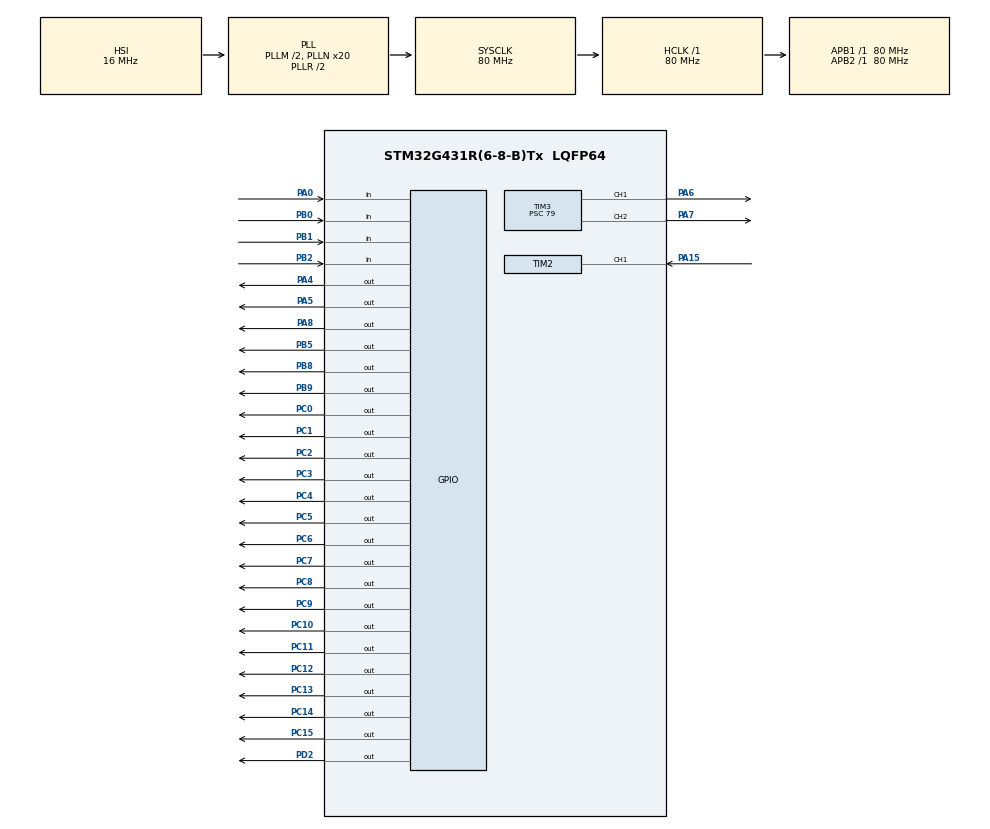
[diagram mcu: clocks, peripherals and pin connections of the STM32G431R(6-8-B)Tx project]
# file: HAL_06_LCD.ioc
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Mcu.Family=STM32G4
Mcu.Name=STM32G431R(6-8-B)Tx
Mcu.Package=LQFP64
NVIC.PriorityGroup=NVIC_PRIORITYGROUP_4
NVIC.TIM2_IRQn=true\:0\:0\:false\:false\:true\:true\:true
PA0.Signal=GPIO_Input
PA13.Mode=Serial_Wire
PA13.Signal=SYS_JTMS-SWDIO
PA14.Mode=Serial_Wire
PA14.Signal=SYS_JTCK-SWCLK
PA15.Signal=S_TIM2_CH1
PA4.Signal=GPIO_Output
PA5.Signal=GPIO_Output
PA6.Signal=S_TIM3_CH1
PA7.Signal=S_TIM3_CH2
PA8.Signal=GPIO_Output
PB0.Signal=GPIO_Input
PB1.Signal=GPIO_Input
PB2.Signal=GPIO_Input
PB5.Signal=GPIO_Output
PB8-BOOT0.Signal=GPIO_Output
PB9.Signal=GPIO_Output
PC0.Signal=GPIO_Output
PC1.Signal=GPIO_Output
PC10.Signal=GPIO_Output
PC11.Signal=GPIO_Output
PC12.Signal=GPIO_Output
PC13.Signal=GPIO_Output
PC14-OSC32_IN.Signal=GPIO_Output
PC15-OSC32_OUT.Signal=GPIO_Output
PC2.Signal=GPIO_Output
PC3.Signal=GPIO_Output
PC4.Signal=GPIO_Output
PC5.Signal=GPIO_Output
PC6.Signal=GPIO_Output
PC7.Signal=GPIO_Output
PC8.Signal=GPIO_Output
PC9.Signal=GPIO_Output
PD2.Signal=GPIO_Output
PF0-OSC_IN.Mode=HSE-External-Oscillator
PF0-OSC_IN.Signal=RCC_OSC_IN
PF1-OSC_OUT.Mode=HSE-External-Oscillator
PF1-OSC_OUT.Signal=RCC_OSC_OUT
ProjectManager.HeapSize=0x200
ProjectManager.StackSize=0x400
ProjectManager.TargetToolchain=MDK-ARM V5.27
RCC.ADC12Freq_Value=80000000
RCC.AHBFreq_Value=80000000
RCC.APB1Freq_Value=80000000
RCC.APB1TimFreq_Value=80000000
RCC.APB2Freq_Value=80000000
RCC.APB2TimFreq_Value=80000000
RCC.CortexFreq_Value=80000000
RCC.EXTERNAL_CLOCK_VALUE=12288000
RCC.HCLKFreq_Value=80000000
RCC.HSE_VALUE=24000000
RCC.HSI48_VALUE=48000000
RCC.HSI_VALUE=16000000
RCC.LSE_VALUE=32768
RCC.PLLM=RCC_PLLM_DIV2
RCC.PLLN=20
RCC.SYSCLKFreq_VALUE=80000000
RCC.SYSCLKSource=RCC_SYSCLKSOURCE_PLLCLK
RCC.USBFreq_Value=80000000
RCC.VCOOutputFreq_Value=160000000
SH.S_TIM2_CH1.0=TIM2_CH1,TriggerSource_TI1FP1
SH.S_TIM2_CH1.1=TIM2_CH1,Input_Capture1_from_TI1
SH.S_TIM2_CH1.2=TIM2_CH1,Input_Capture2_from_TI1
SH.S_TIM3_CH1.0=TIM3_CH1,PWM Generation1 CH1
SH.S_TIM3_CH2.0=TIM3_CH2,PWM Generation2 CH2
TIM2.Channel-Input_Capture1_from_TI1=TIM_CHANNEL_1
TIM2.Channel-Input_Capture2_from_TI1=TIM_CHANNEL_2
TIM2.ICPolarity_CH2=TIM_INPUTCHANNELPOLARITY_FALLING
TIM2.PeriodNoDither=0xffffffff
TIM2.Prescaler=79
TIM3.Channel-PWM\ Generation1\ CH1=TIM_CHANNEL_1
TIM3.Channel-PWM\ Generation2\ CH2=TIM_CHANNEL_2
TIM3.PeriodNoDither=999
TIM3.Prescaler=79
TIM3.PulseNoDither_1=800
TIM3.PulseNoDither_2=300
VP_SYS_VS_DBSignals.Mode=DisableDeadBatterySignals
VP_TIM2_VS_ControllerModeReset.Mode=Reset Mode
board=custom

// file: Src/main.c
/* USER CODE BEGIN Header */
/**
  ******************************************************************************
  * @file           : main.c
  * @brief          : Main program body
  ******************************************************************************
  * @attention
  *
  * <h2><center>&copy; Copyright (c) 2021 STMicroelectronics.
  * All rights reserved.</center></h2>
  *
  * This software component is licensed by ST under BSD 3-Clause license,
  * the "License"; You may not use this file except in compliance with the
  * License. You may obtain a copy of the License at:
  *                        opensource.org/licenses/BSD-3-Clause
  *
  ******************************************************************************
  */
/* USER CODE END Header */

#include "main.h"
#include "tim.h"
#include "gpio.h"

/* USER CODE BEGIN PV */
uint8_t ucLed;

u8 ucState=0;
u8 ucPlat = 1, ucSet=0;
u8 ucArrive=0;
u32 ulKey_Ms;

vu32 Capture = 0;
vu32  Duty=0;
float Freq=0;

__IO uint32_t ulTickms=0;
vu32 ulSec=0;
vu32 ul250Ms=0;
u8 ucHour=0, ucMin=0, ucSec=0;
/* USER CODE END PV */

void SystemClock_Config(void);

/* USER CODE BEGIN 0 */
void ELEV_Proc(void);
u8 Key_Proc(void);
void Lcd_Proc();
void Led_Proc(void);

/* USER CODE END 0 */

int main(void)
{

  /* MCU Configuration--------------------------------------------------------*/

  /* Reset of all peripherals, Initializes the Flash interface and the Systick. */
  HAL_Init();

  /* Configure the system clock */
  SystemClock_Config();

  /* Initialize all configured peripherals */
  MX_GPIO_Init();
  MX_TIM2_Init();
  MX_TIM3_Init();
  /* USER CODE BEGIN 2 */

	LCD_Init();
  /* USER CODE END 2 */

  /* Infinite loop */
  /* USER CODE BEGIN WHILE */

	LCD_Clear(Blue);
	LCD_SetBackColor(Blue);
	LCD_SetTextColor(White);

	HAL_TIM_IC_Start_IT(&htim2,TIM_CHANNEL_1);
	HAL_TIM_IC_Start(&htim2,TIM_CHANNEL_2);

  while (1)
  {
    /* USER CODE END WHILE */

    /* USER CODE BEGIN 3 */
		ELEV_Proc();
		Lcd_Proc();
		Led_Proc();
  }
  /* USER CODE END 3 */
}

void SystemClock_Config(void)
{
  RCC_OscInitTypeDef RCC_OscInitStruct = {0};
  RCC_ClkInitTypeDef RCC_ClkInitStruct = {0};

  /** Configure the main internal regulator output voltage
  */
  HAL_PWREx_ControlVoltageScaling(PWR_REGULATOR_VOLTAGE_SCALE1);
  /** Initializes the CPU, AHB and APB busses clocks
  */
  RCC_OscInitStruct.OscillatorType = RCC_OSCILLATORTYPE_HSI;
  RCC_OscInitStruct.HSIState = RCC_HSI_ON;
  RCC_OscInitStruct.HSICalibrationValue = RCC_HSICALIBRATION_DEFAULT;
  RCC_OscInitStruct.PLL.PLLState = RCC_PLL_ON;
  RCC_OscInitStruct.PLL.PLLSource = RCC_PLLSOURCE_HSI;
  RCC_OscInitStruct.PLL.PLLM = RCC_PLLM_DIV2;
  RCC_OscInitStruct.PLL.PLLN = 20;
  RCC_OscInitStruct.PLL.PLLP = RCC_PLLP_DIV2;
  RCC_OscInitStruct.PLL.PLLQ = RCC_PLLQ_DIV2;
  RCC_OscInitStruct.PLL.PLLR = RCC_PLLR_DIV2;
  if (HAL_RCC_OscConfig(&RCC_OscInitStruct) != HAL_OK)
  {
    Error_Handler();
  }
  /** Initializes the CPU, AHB and APB busses clocks
  */
  RCC_ClkInitStruct.ClockType = RCC_CLOCKTYPE_HCLK|RCC_CLOCKTYPE_SYSCLK
                              |RCC_CLOCKTYPE_PCLK1|RCC_CLOCKTYPE_PCLK2;
  RCC_ClkInitStruct.SYSCLKSource = RCC_SYSCLKSOURCE_PLLCLK;
  RCC_ClkInitStruct.AHBCLKDivider = RCC_SYSCLK_DIV1;
  RCC_ClkInitStruct.APB1CLKDivider = RCC_HCLK_DIV1;
  RCC_ClkInitStruct.APB2CLKDivider = RCC_HCLK_DIV1;

  if (HAL_RCC_ClockConfig(&RCC_ClkInitStruct, FLASH_LATENCY_3) != HAL_OK)
  {
    Error_Handler();
  }
}

/* USER CODE BEGIN 4 */
void ELEV_Proc(void)
{
	static u32 ulElevMs;
	u8 ucRst;
	switch(ucState)
	{
		case 0:			//set
			ucRst=Key_Proc();
			if(ucRst)
			{
				HAL_GPIO_WritePin(GPIOA,GPIO_PIN_5,GPIO_PIN_RESET);
				htim3.Instance->ARR=499;
				htim3.Instance->CCR2=250;
				HAL_TIM_PWM_Start(&htim3,TIM_CHANNEL_2);
				ucState=4;
				ulElevMs=ulTickms;
			}
			break;
		case 1:					//up			6s
			if(ulTickms-ulElevMs>=6000)
			{
				if(ucSet & 1<<(ucPlat-1))			//tartger floor
				{
					ucSet &=~(1<<(ucPlat-1));
					ucLed &=~(1<<(ucPlat-1));

					HAL_TIM_PWM_Stop(&htim3,TIM_CHANNEL_1);
					ucArrive=1;
					HAL_GPIO_WritePin(GPIOA,GPIO_PIN_5,GPIO_PIN_RESET);
					htim3.Instance->ARR=499;
					htim3.Instance->CCR2=300;
					HAL_TIM_PWM_Start(&htim3,TIM_CHANNEL_2);

					ucState=3;
					ulElevMs=ulTickms;
				}
				else
				{
					ucPlat=ucPlat+1;
					ulElevMs=ulTickms;		//continue up
				}
			}
			break;
		case 2:					//down		6s
			if(ulTickms-ulElevMs>=6000)
			{
				if(ucSet & 1<<(ucPlat-1))			//tartger floor
				{
					ucSet &=~(1<<(ucPlat-1));
					ucLed &=~(1<<(ucPlat-1));

					HAL_TIM_PWM_Stop(&htim3,TIM_CHANNEL_1);
					ucArrive=1;
					HAL_GPIO_WritePin(GPIOA,GPIO_PIN_5,GPIO_PIN_RESET);
					htim3.Instance->ARR=499;
					htim3.Instance->CCR2=300;
					HAL_TIM_PWM_Start(&htim3,TIM_CHANNEL_2);

					ucState=3;
					ulElevMs=ulTickms;
				}
				else
				{
					ucPlat=ucPlat-1;
					ulElevMs=ulTickms;		//continue up
				}
			}
			break;
		case 3:					//open door   4s
			if(ulTickms-ulElevMs>=4000)
			{
				HAL_TIM_PWM_Stop(&htim3,TIM_CHANNEL_2);
				if(ucSet)			//  -->wait 2s
				{
					ulElevMs=ulTickms;
					ucState=5;
				}
				else //  -->set
				{
					ucState=0;
				}

			}
			break;
		case 4:					//close door  4s
			if(ulTickms-ulElevMs>=4000)
			{
				HAL_TIM_PWM_Stop(&htim3,TIM_CHANNEL_2);
				if((ucSet & ~((1<<ucPlat) -1) )>0)				// -->up
				{
					ucPlat++;
					HAL_GPIO_WritePin(GPIOA,GPIO_PIN_4,GPIO_PIN_SET);	//ELEV up
					htim3.Instance->ARR=999;									//2KHz
					htim3.Instance->CCR1=800;									//80%
					HAL_TIM_PWM_Start(&htim3,TIM_CHANNEL_1);

					ucState=1;
					ulElevMs=ulTickms;
				}
				else				//--<down
				{
					ucPlat--;
					HAL_GPIO_WritePin(GPIOA,GPIO_PIN_4,GPIO_PIN_RESET);	//ELEV down
					htim3.Instance->ARR=999;									//2KHz
					htim3.Instance->CCR1=600;									//60%
					HAL_TIM_PWM_Start(&htim3,TIM_CHANNEL_1);

					ucState=2;
					ulElevMs=ulTickms;
				}
			}
			break;
		case 5:					//wait 2s
			if(ulTickms-ulElevMs>=2000)
			{
				HAL_GPIO_WritePin(GPIOA,GPIO_PIN_5,GPIO_PIN_RESET);
				htim3.Instance->ARR=499;				//2K
				htim3.Instance->CCR2=250;				//50%
				HAL_TIM_PWM_Start(&htim3,TIM_CHANNEL_2);

				ucState=4;
				ulElevMs=ulTickms;
			}
			break;

	}
}

void Led_Proc(void)
{
	static u8 temp1=4;   //>>  up
	static u8 temp2=0;		//<<down
	static u32 ulSec1=0;
	if(ulSec1!=ulSec)
	{
		ulSec1=ulSec;
		switch(ucState)
		{
			case 1:
				ucLed &=0x0F;
				ucLed |=0x80>>temp2;
				if(++temp2==4) temp2=0;
				break;
			case 2:
				ucLed &=0x0F;
				ucLed |=1<<temp1;
				if(++temp1==8) temp1=4;
				break;
			default:
				ucLed &=0x0F;
				break;
		}
	}
	LED_Disp(ucLed);
}

u8 Key_Proc(void)
{
	u8 ucKey_Val;
	static u8 ucKey_Old;
	//static u32 ulKey_Ms;
	ucKey_Val =KEY_Read();
	if(ucKey_Val!=ucKey_Old)
	{
		ucKey_Old=ucKey_Val;
		ulKey_Ms=ulTickms;
		if(ucKey_Val!=ucPlat)
		{
			switch(ucKey_Val)
			{
				case 1:
						ucSet |=1<<0;
						ucLed |=1<<0;
						break;
				case 2:
						ucSet |=1<<1;
						ucLed |=1<<1;
						break;
				case 3:
						ucSet |=1<<2;
						ucLed |=1<<2;
						break;
				case 4:
						ucSet |=1<<3;
						ucLed |=1<<3;
						break;
			}
			LED_Disp(ucLed);

		}
	}
	if(ucKey_Old==0 && ulTickms-ulKey_Ms>=1000 && ucSet>0)
	{
		return 1;
	}
	else
		return 0;
}

void Lcd_Proc()
{
	static u8 Num=0;
	static u32 Temp_250=0;
	u8 pucDisp[25]={0};
	u8 *state_str[]={"Stopping","Elev Up","Elev Down","Door Open","Door Close","Wait 2s"};
	LCD_DisplayStringLine(Line0,(unsigned char *)"  Current Platform  ");

	if(ucArrive)
	{
		if(Temp_250!=ul250Ms)
		{
			Temp_250=ul250Ms;
			if(Num++ % 2==0)
				LCD_DisplayChar(Line1,160,' ');
				//LCD_SetTextColor(White);
			else
				//LCD_SetTextColor(Red);
			LCD_DisplayChar(Line1,160,ucPlat +0x30);
		}
		if(Num==4)
		{
			ucArrive=0;
			Num=0;
			//LCD_SetTextColor(White);
		}
	}
	else
		LCD_DisplayChar(Line1,160,ucPlat +0x30);

	//LCD_SetTextColor(White);
	sprintf(pucDisp,"      %02d:%02d:%02d",ucHour,ucMin,ucSec);
	LCD_DisplayStringLine(Line2,pucDisp);
	sprintf(pucDisp,"      %s    ",state_str[ucState]);
	LCD_DisplayStringLine(Line3,pucDisp);
	//LCD_DisplayChar(Line8,160,ucState  +0x30);
	sprintf(pucDisp,"  Freq:%4.1fHZ      ",Freq);
	LCD_DisplayStringLine(Line6,(unsigned char *)pucDisp);
	sprintf(pucDisp,"  Duty:%4.1f%%      ",100.0*Duty/Capture);
	LCD_DisplayStringLine(Line7,(unsigned char *)pucDisp);
	sprintf(pucDisp,"  Capt1:%d      ",Capture);
	LCD_DisplayStringLine(Line8,(unsigned char *)pucDisp);
	sprintf(pucDisp,"  Duty1:%d      ",Duty);
	LCD_DisplayStringLine(Line9,(unsigned char *)pucDisp);
}
void HAL_TIM_IC_CaptureCallback(TIM_HandleTypeDef *htim)
{
	if(htim->Instance ==TIM2)
	{
		if(htim->Channel==HAL_TIM_ACTIVE_CHANNEL_1)
		{
			Capture=HAL_TIM_ReadCapturedValue(htim,TIM_CHANNEL_1)+1;
			if(Capture !=0)
			{
				Freq=HAL_RCC_GetSysClockFreq()/80.0/Capture;
				Duty=HAL_TIM_ReadCapturedValue(htim,TIM_CHANNEL_2)+1;
			}
			else
			{
				Freq=0;
				Duty=0;
			}
		}
	}
}
/* USER CODE END 4 */

void Error_Handler(void)
{
}

/************************ (C) COPYRIGHT STMicroelectronics *****END OF FILE****/
